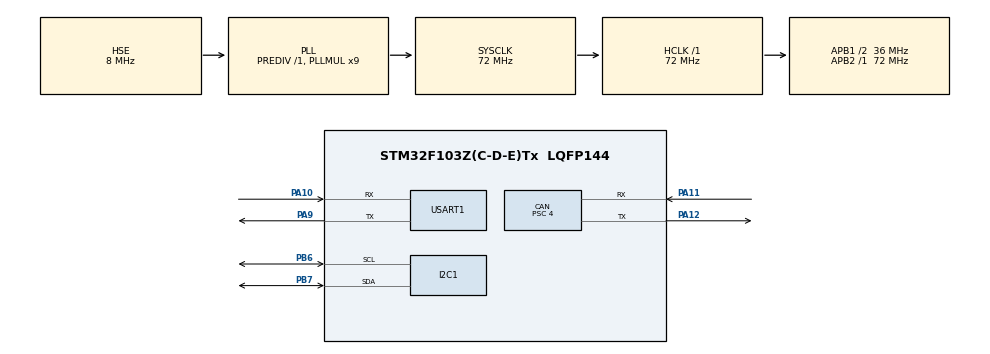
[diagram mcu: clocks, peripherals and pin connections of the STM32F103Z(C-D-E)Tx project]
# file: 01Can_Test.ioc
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CAN.BS1=CAN_BS1_9TQ
CAN.BS2=CAN_BS2_8TQ
CAN.CalculateBaudRate=500000
CAN.CalculateTimeBit=2000
CAN.CalculateTimeQuantum=111.11111111111111
CAN.Prescaler=4
Mcu.Family=STM32F1
Mcu.Name=STM32F103Z(C-D-E)Tx
Mcu.Package=LQFP144
NVIC.PriorityGroup=NVIC_PRIORITYGROUP_4
NVIC.USB_LP_CAN1_RX0_IRQn=true\:1\:0\:true\:false\:true\:true\:true\:true
OSC_IN.Mode=HSE-External-Oscillator
OSC_IN.Signal=RCC_OSC_IN
OSC_OUT.Mode=HSE-External-Oscillator
OSC_OUT.Signal=RCC_OSC_OUT
PA10.Mode=Asynchronous
PA10.Signal=USART1_RX
PA11.Mode=CAN_Activate
PA11.Signal=CAN_RX
PA12.Mode=CAN_Activate
PA12.Signal=CAN_TX
PA13.Mode=Serial_Wire
PA13.Signal=SYS_JTMS-SWDIO
PA14.Mode=Serial_Wire
PA14.Signal=SYS_JTCK-SWCLK
PA9.Mode=Asynchronous
PA9.Signal=USART1_TX
PB6.Mode=I2C
PB6.Signal=I2C1_SCL
PB7.Mode=I2C
PB7.Signal=I2C1_SDA
ProjectManager.HeapSize=0x200
ProjectManager.StackSize=0x400
ProjectManager.TargetToolchain=MDK-ARM V5.32
RCC.AHBFreq_Value=72000000
RCC.APB1CLKDivider=RCC_HCLK_DIV2
RCC.APB1Freq_Value=36000000
RCC.APB1TimFreq_Value=72000000
RCC.APB2Freq_Value=72000000
RCC.APB2TimFreq_Value=72000000
RCC.HCLKFreq_Value=72000000
RCC.PLLMUL=RCC_PLL_MUL9
RCC.PLLSourceVirtual=RCC_PLLSOURCE_HSE
RCC.SYSCLKFreq_VALUE=72000000
RCC.SYSCLKSource=RCC_SYSCLKSOURCE_PLLCLK
RCC.USBFreq_Value=72000000
TIM1.Prescaler=71
USART1.VirtualMode=VM_ASYNC
VP_TIM1_VS_ClockSourceINT.Mode=Internal
board=custom

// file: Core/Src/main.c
/* USER CODE BEGIN Header */
/**
  ******************************************************************************
  * @file           : main.c
  * @brief          : Main program body
  ******************************************************************************
  * @attention
  *
  * Copyright (c) 2024 STMicroelectronics.
  * All rights reserved.
  *
  * This software is licensed under terms that can be found in the LICENSE file
  * in the root directory of this software component.
  * If no LICENSE file comes with this software, it is provided AS-IS.
  *
  ******************************************************************************
  */
/* USER CODE END Header */
#include "main.h"
#include "can.h"
#include "i2c.h"
#include "tim.h"
#include "usart.h"
#include "gpio.h"

/* USER CODE BEGIN Includes */
#include "string.h"
#include "canif.h"
#include "dht11.h"
#include "oled.h"
/* USER CODE END Includes */

/* USER CODE BEGIN PD */
#define SEND_LEN  5
#define ZET6      1  //1代表使用ZET6接收数据的代码   0代表使用C8T6发送数据的代码
/* USER CODE END PD */

/* USER CODE BEGIN PV */
uint8_t Tx_Data[]={7,8,5,24,11,2,13,9};
uint8_t Rx_Data[8];
uint8_t OLED_BUFF[20];
uint32_t Recv_ID = 0;
uint32_t Recv_Len = 0;
uint8_t Flag=0;
/* USER CODE END PV */

void SystemClock_Config(void);

int main(void)
{

  /* MCU Configuration--------------------------------------------------------*/

  /* Reset of all peripherals, Initializes the Flash interface and the Systick. */
  HAL_Init();

  /* Configure the system clock */
  SystemClock_Config();

  /* Initialize all configured peripherals */
  MX_GPIO_Init();
  MX_CAN_Init();
  MX_USART1_UART_Init();
  MX_TIM1_Init();
  MX_I2C1_Init();
  /* USER CODE BEGIN 2 */
	Can_Filter_Init();
#if ZET6
	OLED_Init();
	OLED_Clear();
#endif
  /* USER CODE END 2 */

  /* Infinite loop */
  /* USER CODE BEGIN WHILE */
  while (1)
  {

#if ZET6	 //1代表使用接收数据的代码   0代表使用发送数据的代码

//		uint32_t Recv_ID = 0;
//		uint32_t Recv_Len = Can_Recv_Msg(&Recv_ID, Rx_Data);
		if(Flag==1)
		{
			printf("recv id 0x%x:\r\n", Recv_ID);
			printf("recv length %u:\r\n", Recv_Len);
			printf("recv data:");
			for(int i=0;i<Recv_Len;i++)
				printf(" %u ",Rx_Data[i]);
			printf("\r\n");

		OLED_ShowString(32, 0, "Can Test",16);
		sprintf(OLED_BUFF,"H:%u  T:%u",Rx_Data[0],Rx_Data[2]);
		OLED_ShowString(0, 2, OLED_BUFF,16);

		Recv_Len=0;
		Flag=0;
		memset(Rx_Data, 0, 8);
		}
#else
		DHT_Read();
    HAL_Delay(100);
		uint32_t ret = Can_Send_Msg(0x12, SEND_LEN, Data);
		if(ret == 0)
		{

			printf("send data:");
			for(int i=0;i<SEND_LEN;i++)
				printf(" %u ",Data[i]);
			printf("\r\n");
		printf("send ok\r\n");
		}else{
			printf("send eorro\r\n");
		}
#endif
    /* USER CODE END WHILE */

  }
}

void SystemClock_Config(void)
{
  RCC_OscInitTypeDef RCC_OscInitStruct = {0};
  RCC_ClkInitTypeDef RCC_ClkInitStruct = {0};

  /** Initializes the RCC Oscillators according to the specified parameters
  * in the RCC_OscInitTypeDef structure.
  */
  RCC_OscInitStruct.OscillatorType = RCC_OSCILLATORTYPE_HSE;
  RCC_OscInitStruct.HSEState = RCC_HSE_ON;
  RCC_OscInitStruct.HSEPredivValue = RCC_HSE_PREDIV_DIV1;
  RCC_OscInitStruct.HSIState = RCC_HSI_ON;
  RCC_OscInitStruct.PLL.PLLState = RCC_PLL_ON;
  RCC_OscInitStruct.PLL.PLLSource = RCC_PLLSOURCE_HSE;
  RCC_OscInitStruct.PLL.PLLMUL = RCC_PLL_MUL9;
  if (HAL_RCC_OscConfig(&RCC_OscInitStruct) != HAL_OK)
  {
    Error_Handler();
  }

  /** Initializes the CPU, AHB and APB buses clocks
  */
  RCC_ClkInitStruct.ClockType = RCC_CLOCKTYPE_HCLK|RCC_CLOCKTYPE_SYSCLK
                              |RCC_CLOCKTYPE_PCLK1|RCC_CLOCKTYPE_PCLK2;
  RCC_ClkInitStruct.SYSCLKSource = RCC_SYSCLKSOURCE_PLLCLK;
  RCC_ClkInitStruct.AHBCLKDivider = RCC_SYSCLK_DIV1;
  RCC_ClkInitStruct.APB1CLKDivider = RCC_HCLK_DIV2;
  RCC_ClkInitStruct.APB2CLKDivider = RCC_HCLK_DIV1;

  if (HAL_RCC_ClockConfig(&RCC_ClkInitStruct, FLASH_LATENCY_2) != HAL_OK)
  {
    Error_Handler();
  }
}

/* USER CODE BEGIN 4 */
void HAL_CAN_RxFifo0MsgPendingCallback(CAN_HandleTypeDef *hcan)
{
		Recv_Len = Can_Recv_IT_Msg(&Recv_ID, Rx_Data);
		Flag=1;
}
/* USER CODE END 4 */

void Error_Handler(void)
{
  __disable_irq();
  while (1)
  {
  }
}
